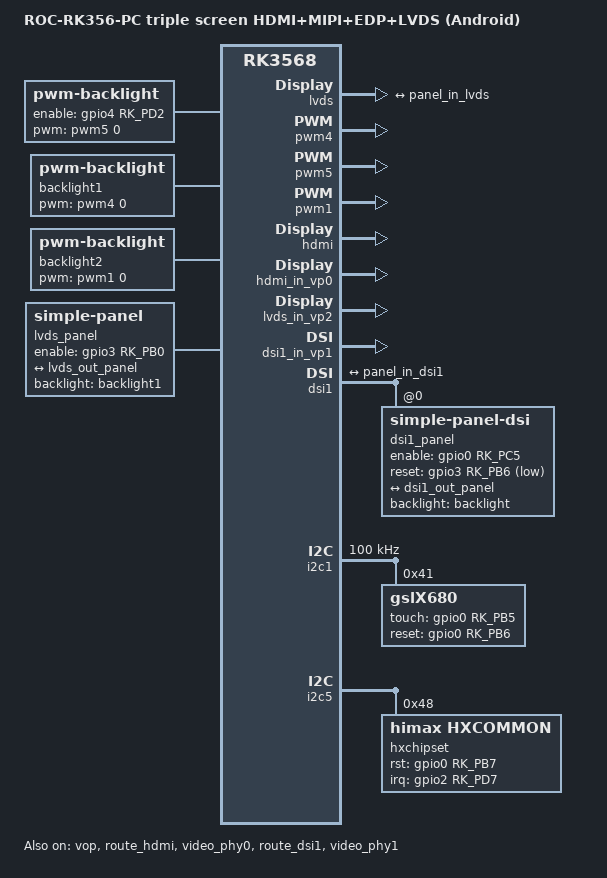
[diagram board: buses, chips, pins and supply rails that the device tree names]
// SPDX-License-Identifier: (GPL-2.0+ OR MIT)
/*
 * Copyright (c) 2020 Rockchip Electronics Co., Ltd.
 *
 */

 /dts-v1/;
#include <dt-bindings/display/media-bus-format.h>
#include "rk3568-firefly-roc-pc.dtsi"

/ {
	model = "ROC-RK356-PC triple screen HDMI+MIPI+EDP+LVDS (Android)";
	compatible = "rockchip,rk3568-firefly-roc-pc-triple-display", "rockchip,rk3568";

    backlight: backlight {
        status = "okay";
        compatible = "pwm-backlight";
        enable-gpios = <&gpio4 RK_PD2 GPIO_ACTIVE_HIGH>;
        pwms = <&pwm5 0 50000 1>;
        brightness-levels = <
             60  60  60  61  61  61  62  62
             62  63  63  63  64  64  64  65
             65  65  66  66  66  67  67  67
             68  68  68  69  69  69  70  70
             70  71  71  71  72  72  72  73
             73  73  74  74  74  75  75  75
             76  76  76  77  77  77  78  78
             78  79  79  79  80  80  80  81
             81  81  82  82  82  83  83  83
             84  84  84  85  85  85  86  86
             86  87  87  87  88  88  88  89
             89  89  90  91  92  93  94  95
             96  97  98  99 100 101 102 103
            104 105 106 107 108 109 110 111
            112 113 114 115 116 117 118 119
            120 121 122 123 124 125 126 127
            128 129 130 131 132 133 134 135
            136 137 138 139 140 141 142 143
            144 145 146 147 148 149 150 151
            152 153 154 155 156 157 158 159
            160 161 162 163 164 165 166 167
            168 169 170 171 172 173 174 175
            176 177 178 179 180 181 182 183
            184 185 186 187 188 189 190 191
            192 193 194 195 196 197 198 199
            200 201 202 203 204 205 206 207
            208 209 210 211 212 213 214 215
            216 217 218 219 220 221 222 223
            224 225 226 227 228 229 230 231
            232 233 234 235 236 237 238 239
            240 241 242 243 244 245 246 247
            248 249 250 251 252 253 254 255
        >;
        default-brightness-level = <200>;
    };

    backlight1:backlight1 {
        status = "okay";
        compatible = "pwm-backlight";
        pwms = <&pwm4 0 25000 1>;
        brightness-levels = <
             60  60  60  61  61  61  62  62
             62  63  63  63  64  64  64  65
             65  65  66  66  66  67  67  67
             68  68  68  69  69  69  70  70
             70  71  71  71  72  72  72  73
             73  73  74  74  74  75  75  75
             76  76  76  77  77  77  78  78
             78  79  79  79  80  80  80  81
             81  81  82  82  82  83  83  83
             84  84  84  85  85  85  86  86
             86  87  87  87  88  88  88  89
             89  89  90  91  92  93  94  95
             96  97  98  99 100 101 102 103
            104 105 106 107 108 109 110 111
            112 113 114 115 116 117 118 119
            120 121 122 123 124 125 126 127
            128 129 130 131 132 133 134 135
            136 137 138 139 140 141 142 143
            144 145 146 147 148 149 150 151
            152 153 154 155 156 157 158 159
            160 161 162 163 164 165 166 167
            168 169 170 171 172 173 174 175
            176 177 178 179 180 181 182 183
            184 185 186 187 188 189 190 191
            192 193 194 195 196 197 198 199
            200 201 202 203 204 205 206 207
            208 209 210 211 212 213 214 215
            216 217 218 219 220 221 222 223
            224 225 226 227 228 229 230 231
            232 233 234 235 236 237 238 239
            240 241 242 243 244 245 246 247
            248 249 250 251 252 253 254 255
        >;
        default-brightness-level = <200>;
    };

    backlight2: backlight2 {
        status = "okay";
        compatible = "pwm-backlight";
        //enable-gpios = <&gpio3 RK_PC3 GPIO_ACTIVE_HIGH>; // EDP_BL_EN
        pwms = <&pwm1 0 500000 0>;
        brightness-levels = <
              0   1   2   3   4   5   6   7
              8   9  10  11  12  13  14  15
             16  17  18  19  20  21  22  23
             24  25  26  27  28  29  30  31
             32  33  34  35  36  37  38  39
             40  41  42  43  44  45  46  47
             48  49  50  51  52  53  54  55
             56  57  58  59  60  61  62  63
             64  65  66  67  68  69  70  71
             72  73  74  75  76  77  78  79
             80  81  82  83  84  85  86  87
             88  89  90  91  92  93  94  95
             96  97  98  99 100 101 102 103
            104 105 106 107 108 109 110 111
            112 113 114 115 116 117 118 119
            120 121 122 123 124 125 126 127
            128 129 130 131 132 133 134 135
            136 137 138 139 140 141 142 143
            144 145 146 147 148 149 150 151
            152 153 154 155 156 157 158 159
            160 161 162 163 164 165 166 167
            168 169 170 171 172 173 174 175
            176 177 178 179 180 181 182 183
            184 185 186 187 188 189 190 191
            192 193 194 195 196 197 198 199
            200 201 202 203 204 205 206 207
            208 209 210 211 212 213 214 215
            216 217 218 219 220 221 222 223
            224 225 226 227 228 229 230 231
            232 233 234 235 236 237 238 239
            240 241 242 243 244 245 246 247
            248 249 250 251 252 253 254 255>;
        default-brightness-level = <200>;
    };

    lvds_panel: lvds-panel {
        compatible = "simple-panel";
        status = "okay";
        enable-gpios = <&gpio3 RK_PB0 GPIO_ACTIVE_HIGH>;
        backlight = <&backlight1>;
        enable-delay-ms = <35>;
        prepare-delay-ms = <6>;
        unprepare-delay-ms = <0>;
        disable-delay-ms = <20>;
        bus-format = <MEDIA_BUS_FMT_RGB888_1X7X4_SPWG>;
        disp_timings1:display-timings {
            native-mode = <&lvds_timing0>;
            lvds_timing0: timing0 {
                clock-frequency = <72000000>;
                hactive = <800>;
                vactive = <1280>;
                hfront-porch = <50>;
                hsync-len = <10>;
                hback-porch = <50>;
                vfront-porch = <10>;
                vsync-len = <18>;
                vback-porch = <10>;
                hsync-active = <0>;
                vsync-active = <0>;
                de-active = <0>;
                pixelclk-active = <0>;
            };
	    };

        ports {
            #address-cells = <1>;
            #size-cells = <0>;

            port@0 {
                reg = <0>;
                //dual-lvds-even-pixels;
                panel_in_lvds: endpoint {
                    remote-endpoint = <&lvds_out_panel>;
                };
            };
        };
    };

    edp_panel: edp-panel {
        compatible = "simple-panel";
        status = "disabled";
        enable-gpios = <&gpio3 RK_PC3 GPIO_ACTIVE_HIGH>;
        bus-format = <MEDIA_BUS_FMT_RBG888_1X24>;
        backlight = <&backlight2>;
        disp_timings2:display-timings {
            native-mode = <&edp_timing0>;
            edp_timing0: timing0 {
                clock-frequency = <140000000>;
                hactive = <1920>;
                vactive = <1080>;
                hfront-porch = <40>;
                hsync-len = <40>;
                hback-porch = <80>;
                vfront-porch = <16>;
                vsync-len = <8>;
                vback-porch = <16>;
                hsync-active = <0>;
                vsync-active = <0>;
                de-active = <0>;
                pixelclk-active = <0>;
            };
        };

        ports {
            #address-cells = <1>;
            #size-cells = <0>;

            port@0 {
                reg = <0>;
                panel_in_edp: endpoint {
                    remote-endpoint = <&edp_out_panel>;
                };
            };
        };
	};
};

// lvds out panel
&lvds {
	status = "okay";

	ports {
        lvds_out:port@1 {
            reg = <1>;

            lvds_out_panel: endpoint {
                remote-endpoint = <&panel_in_lvds>;
            };
        };
    };
};

// edp out panel
&edp {
    status = "disabled";
    hpd-gpios = <&gpio0 RK_PC2 GPIO_ACTIVE_HIGH>;
    force-hpd;
    enable-delay-ms = <200>; // vcc to hpd delay 200ms for power on sequence

    ports {
        edp_out: port@1 {
            reg = <1>;
            #address-cells = <1>;
            #size-cells = <0>;

            edp_out_panel: endpoint@ {
                //reg = <0>;
                remote-endpoint = <&panel_in_edp>;
            };
        };
    };
};

// lvds pwm
&pwm4 {
    status = "okay";
};

//mipi dsi1 pwm
&pwm5 {
    status = "okay";
};

//edp pwm
&pwm1 {
    status = "okay";
};

&vop {
    status = "okay";
    assigned-clocks = <&cru DCLK_VOP0>, <&cru DCLK_VOP1>;
    assigned-clock-parents = <&pmucru PLL_HPLL>, <&cru PLL_VPLL>;
};

// hdmi vop configuration
&route_hdmi {
    status = "okay";
    connect = <&vp0_out_hdmi>;
};

&hdmi {
    status = "okay";
};

&hdmi_in_vp0 {
    status = "okay";
};

&hdmi_in_vp1 {
    status = "disabled";
};
//======================


// lvds vop configuration
&dsi0 {
    status = "disabled";
};

&dsi0_in_vp0 {
    status = "disabled";
};

&dsi0_in_vp1 {
    status = "disabled";
};

&video_phy0 {
    status = "okay";
};

&lvds_in_vp1 {
    status = "disabled";
};

&lvds_in_vp2 {
    status = "okay";
};

&route_lvds {
    status = "disabled";
    connect = <&vp2_out_lvds>;
};
//====================


//edp vop configuration
&edp_phy {
    status = "disabled";
};

&route_edp {
    status = "disabled";
    connect = <&vp0_out_edp>;
};

&edp_in_vp0 {
    status = "disabled";
};

&edp_in_vp1 {
    status = "disabled";
};
//====================


// mipi dsi1 vop configuration
&route_dsi1 {
    status = "okay";
    //logo,rotation = <270>; //support rotation 90,180,270
    logo,mode = "center";
    connect = <&vp1_out_dsi1>;
};

&video_phy1 {
    status = "okay";
};

&dsi1_in_vp0 {
    status = "disabled";
};

&dsi1_in_vp1 {
    status = "okay";
};

/*
 * mipi_dphy1 needs to be enabled
 * when dsi1 is enabled
 */
&dsi1 {
    status = "okay";
    //rockchip,lane-rate = <1000>;
    dsi1_panel: panel@0 {
        status = "okay";
        compatible = "simple-panel-dsi";
        reg = <0>;
        backlight = <&backlight>;

        enable-gpios = <&gpio0 RK_PC5 GPIO_ACTIVE_HIGH>;
        reset-gpios = <&gpio3 RK_PB6 GPIO_ACTIVE_LOW>;

        enable-delay-ms = <35>;
        prepare-delay-ms = <6>;
        reset-delay-ms = <25>;
        init-delay-ms = <55>;
        unprepare-delay-ms = <0>;
        disable-delay-ms = <20>;
        mipi-data-delay-ms = <200>;
        size,width = <120>;
        size,height = <170>;
        dsi,flags = <(MIPI_DSI_MODE_VIDEO | MIPI_DSI_MODE_VIDEO_BURST | MIPI_DSI_MODE_LPM | MIPI_DSI_MODE_EOT_PACKET)>;
        dsi,format = <MIPI_DSI_FMT_RGB888>;
        dsi,lanes  = <4>;

        panel-init-sequence = [
            //39 00 04 B9 83 10 2E
            // 15 00 02 CF FF
            05 78 01 11
            05 32 01 29
            //15 00 02 35 00
        ];

        panel-exit-sequence = [
            05 00 01 28
            05 00 01 10
        ];

        disp_timings0: display-timings {
            native-mode = <&dsi1_timing0>;
            dsi1_timing0: timing0 {
                clock-frequency = <72600000>;//<80000000>;
                hactive = <800>;//<768>;
                vactive = <1280>;
                hsync-len = <14>;   //20, 50,10
                hback-porch = <26>; //50, 56,10
                hfront-porch = <32>;//50, 30,180
	            vsync-len = <8>;//4
	            vback-porch = <20>;//4
	            vfront-porch = <80>;//8
	            hsync-active = <0>;
	            vsync-active = <0>;
	            de-active = <0>;
                pixelclk-active = <0>;
            };
        };

        ports {
            #address-cells = <1>;
            #size-cells = <0>;

            port@0 {
                reg = <0>;
                panel_in_dsi1: endpoint {
                    remote-endpoint = <&dsi1_out_panel>;
                };
            };
        };
	};

    ports {
        #address-cells = <1>;
        #size-cells = <0>;

        port@1 {
            reg = <1>;
            dsi1_out_panel: endpoint {
            remote-endpoint = <&panel_in_dsi1>;
            };
        };
	};
};


&i2c1 {
    status = "okay";
    clock-frequency = <100000>;
    gslx680: gslx680@41 { // lvds tp
        status = "okay";
        compatible = "gslX680";
        reg = <0x41>;
        screen_max_x = <800>;
        screen_max_y = <1280>;
        touch-gpio = <&gpio0 RK_PB5 IRQ_TYPE_LEVEL_LOW>;
        reset-gpio = <&gpio0 RK_PB6 GPIO_ACTIVE_HIGH>;
        flip-x = <1>;
        flip-y = <0>;
        swap-xy = <0>;
        gsl,fw = <1>;
    };

    mc3230_1: mc3230sensor@4c {
        compatible = "gs_mc3230";
        reg = <0x4c>;
        type = <SENSOR_TYPE_ACCEL>;
        irq_enable = <0>;
        poll_delay_ms = <30>;
        layout = <1>;
        status = "disabled";
    };
};

&i2c5 {
    hxchipset@48{ //mipi tp
        status = "okay";
        compatible = "himax,hxcommon";
        reg = <0x48>;

        himax,rst-gpio = <&gpio0 RK_PB7 GPIO_ACTIVE_HIGH>;
        himax,irq-gpio = <&gpio2 RK_PD7 IRQ_TYPE_LEVEL_LOW>;
        //himax,3v3-gpio = <&gpio0 RK_PB4 GPIO_ACTIVE_HIGH>;
        //himax,pon-gpio = <&gpio0 RK_PB4 GPIO_ACTIVE_HIGH>;

        himax,panel-coords = <0 800 0 1280>;      //触摸范围
        himax,display-coords = <0 800 0 1280>;    //分辨率
        report_type = <1>;
    };

    mc3230_2: mc3230sensor@4c {
        compatible = "gs_mc3230";
        reg = <0x4c>;
        type = <SENSOR_TYPE_ACCEL>;
        irq_enable = <0>;
        poll_delay_ms = <30>;
        layout = <7>;
        status = "disabled";
    };
};

/delete-node/ &vcc3v3_lcd0_n;
/delete-node/ &vcc3v3_lcd1_n;
